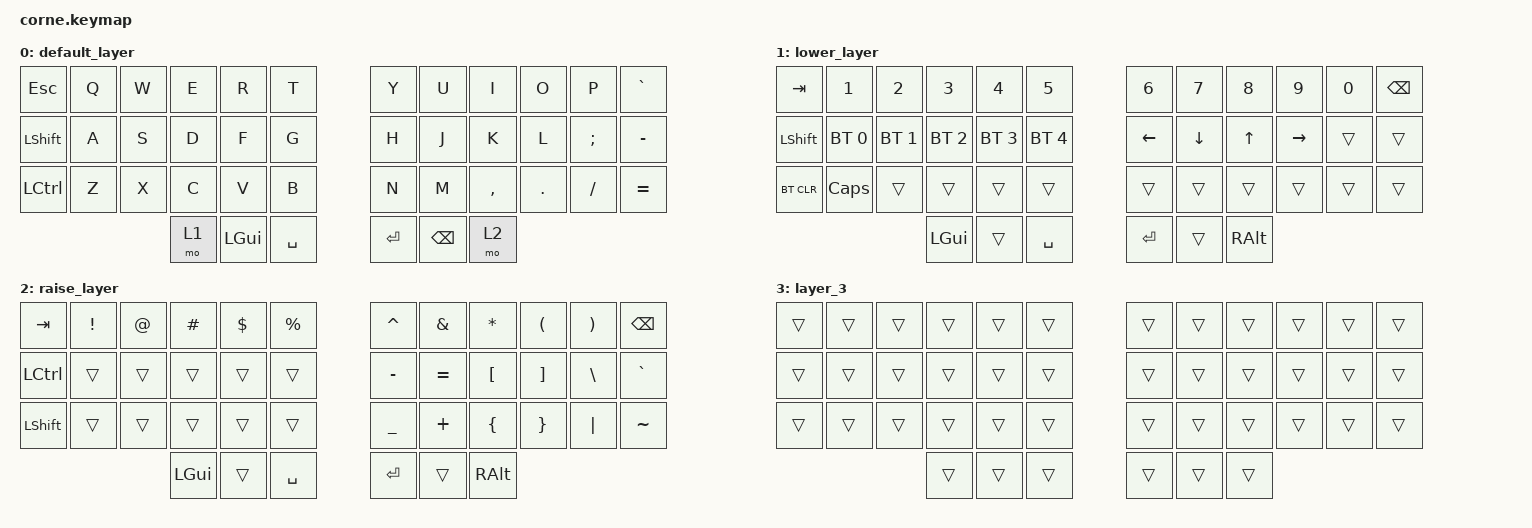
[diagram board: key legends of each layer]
/*
 * Copyright (c) 2020 The ZMK Contributors
 *
 * SPDX-License-Identifier: MIT
 */

#include <behaviors.dtsi>
#include <dt-bindings/zmk/bt.h>
#include <dt-bindings/zmk/keys.h>

/ {
    keymap {
        compatible = "zmk,keymap";

        default_layer {
            // -----------------------------------------------------------------------------------------
            // |  TAB |  Q  |  W  |  E  |  R  |  T  |   |  Y  |  U   |  I  |  O  |  P  | BKSP |
            // | CTRL |  A  |  S  |  D  |  F  |  G  |   |  H  |  J   |  K  |  L  |  ;  |  '   |
            // | SHFT |  Z  |  X  |  C  |  V  |  B  |   |  N  |  M   |  ,  |  .  |  /  | ESC  |
            //                    | GUI | LWR | SPC |   | ENT | RSE  | ALT |

            bindings = <
&kp ESCAPE        &kp Q  &kp W  &kp E  &kp R     &kp T        &kp Y    &kp U          &kp I      &kp O    &kp P     &kp GRAVE
&kp LEFT_SHIFT    &kp A  &kp S  &kp D  &kp F     &kp G        &kp H    &kp J          &kp K      &kp L    &kp SEMI  &kp MINUS
&kp LEFT_CONTROL  &kp Z  &kp X  &kp C  &kp V     &kp B        &kp N    &kp M          &kp COMMA  &kp DOT  &kp FSLH  &kp EQUAL
                                &mo 1  &kp LGUI  &kp SPACE    &kp RET  &kp BACKSPACE  &mo 2
            >;
        };

        lower_layer {
            // -----------------------------------------------------------------------------------------
            // |  TAB |  1  |  2  |  3  |  4  |  5  |   |  6  |  7  |  8  |  9  |  0  | BKSP |
            // | BTCLR| BT1 | BT2 | BT3 | BT4 | BT5 |   | LFT | DWN |  UP | RGT |     |      |
            // | SHFT |     |     |     |     |     |   |     |     |     |     |     |      |
            //                    | GUI |     | SPC |   | ENT |     | ALT |

            bindings = <
&kp TAB         &kp N1        &kp N2        &kp N3        &kp N4        &kp N5          &kp N6    &kp N7    &kp N8    &kp N9     &kp N0  &kp BSPC
&kp LEFT_SHIFT  &bt BT_SEL 0  &bt BT_SEL 1  &bt BT_SEL 2  &bt BT_SEL 3  &bt BT_SEL 4    &kp LEFT  &kp DOWN  &kp UP    &kp RIGHT  &trans  &trans
&bt BT_CLR      &kp CAPS      &trans        &trans        &trans        &trans          &trans    &trans    &trans    &trans     &trans  &trans
                                            &kp LGUI      &trans        &kp SPACE       &kp RET   &trans    &kp RALT
            >;
        };

        raise_layer {
            // -----------------------------------------------------------------------------------------
            // |  TAB |  !  |  @  |  #  |  $  |  %  |   |  ^  |  &  |  *  |  (  |  )  | BKSP |
            // | CTRL |     |     |     |     |     |   |  -  |  =  |  [  |  ]  |  \  |  `   |
            // | SHFT |     |     |     |     |     |   |  _  |  +  |  {  |  }  | "|" |  ~   |
            //                    | GUI |     | SPC |   | ENT |     | ALT |

            bindings = <
&kp TAB    &kp EXCL  &kp AT  &kp HASH  &kp DLLR  &kp PRCNT    &kp CARET  &kp AMPS   &kp ASTRK  &kp LPAR  &kp RPAR  &kp BSPC
&kp LCTRL  &trans    &trans  &trans    &trans    &trans       &kp MINUS  &kp EQUAL  &kp LBKT   &kp RBKT  &kp BSLH  &kp GRAVE
&kp LSHFT  &trans    &trans  &trans    &trans    &trans       &kp UNDER  &kp PLUS   &kp LBRC   &kp RBRC  &kp PIPE  &kp TILDE
                             &kp LGUI  &trans    &kp SPACE    &kp RET    &trans     &kp RALT
            >;
        };

        layer_3 {
            bindings = <
&trans  &trans  &trans  &trans  &trans  &trans    &trans  &trans  &trans  &trans  &trans  &trans
&trans  &trans  &trans  &trans  &trans  &trans    &trans  &trans  &trans  &trans  &trans  &trans
&trans  &trans  &trans  &trans  &trans  &trans    &trans  &trans  &trans  &trans  &trans  &trans
                        &trans  &trans  &trans    &trans  &trans  &trans
            >;
        };
    };
};
